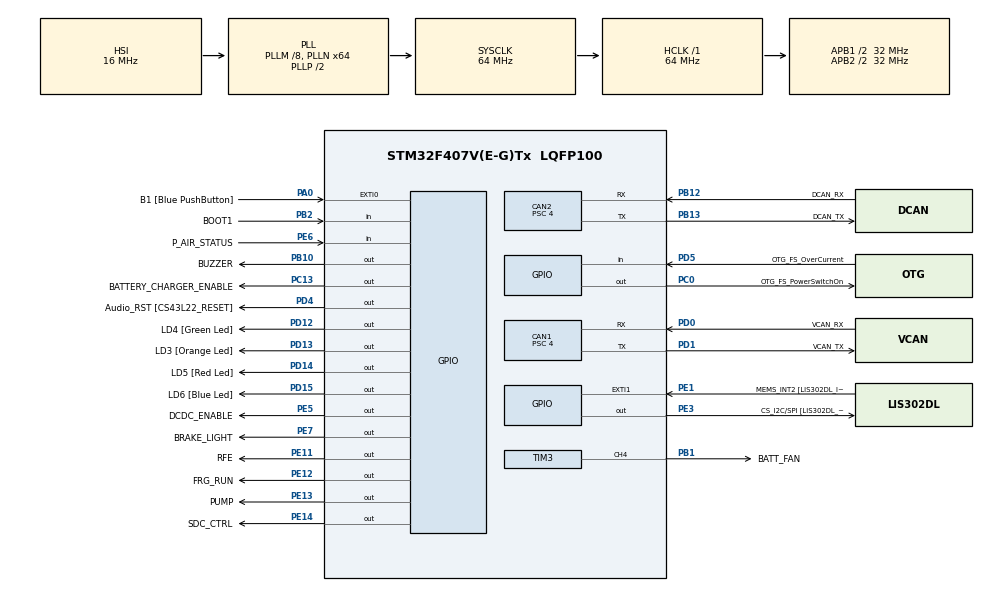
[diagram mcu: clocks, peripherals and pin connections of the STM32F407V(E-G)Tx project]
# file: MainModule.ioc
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CAN1.ABOM=ENABLE
CAN1.BS1=CAN_BS1_9TQ
CAN1.BS2=CAN_BS2_6TQ
CAN1.CalculateTimeBit=2000
CAN1.CalculateTimeQuantum=125.0
CAN1.Prescaler=4
CAN2.ABOM=ENABLE
CAN2.BS1=CAN_BS1_9TQ
CAN2.BS2=CAN_BS2_6TQ
CAN2.CalculateTimeQuantum=125.0
CAN2.Prescaler=4
CAN2.TTCM=DISABLE
FREERTOS.INCLUDE_vTaskDelayUntil=1
FREERTOS.Tasks01=defaultTask,0,128,StartDefaultTask,Default,NULL
FREERTOS.configUSE_TRACE_FACILITY=1
Mcu.Family=STM32F4
Mcu.Name=STM32F407V(E-G)Tx
Mcu.Package=LQFP100
NVIC.CAN1_RX0_IRQn=true\:5\:0\:false\:false\:true\:true\:true
NVIC.CAN1_RX1_IRQn=true\:5\:0\:false\:false\:true\:true\:true
NVIC.CAN2_RX0_IRQn=true\:5\:0\:false\:false\:true\:true\:true
NVIC.CAN2_RX1_IRQn=true\:5\:0\:false\:false\:true\:true\:true
NVIC.PriorityGroup=NVIC_PRIORITYGROUP_4
NVIC.TIM1_UP_TIM10_IRQn=true\:0\:0\:false\:false\:true\:false\:true
NVIC.TimeBase=TIM1_UP_TIM10_IRQn
NVIC.TimeBaseIP=TIM1
PA0-WKUP.GPIO_Label=B1 [Blue PushButton]
PA0-WKUP.Signal=GPXTI0
PA10.GPIO_Label=OTG_FS_ID
PA10.GPIO_Mode=GPIO_MODE_AF_PP
PA10.GPIO_PuPd=GPIO_NOPULL
PA10.GPIO_Speed=GPIO_SPEED_FREQ_LOW
PA10.Signal=USB_OTG_FS_ID
PA11.GPIO_Label=OTG_FS_DM
PA11.GPIO_Mode=GPIO_MODE_AF_PP
PA11.GPIO_PuPd=GPIO_NOPULL
PA11.GPIO_Speed=GPIO_SPEED_FREQ_LOW
PA11.Signal=USB_OTG_FS_DM
PA12.GPIO_Label=OTG_FS_DP
PA12.GPIO_Mode=GPIO_MODE_AF_PP
PA12.GPIO_PuPd=GPIO_NOPULL
PA12.GPIO_Speed=GPIO_SPEED_FREQ_LOW
PA12.Signal=USB_OTG_FS_DP
PA13.GPIO_Label=SWDIO
PA13.Mode=Serial_Wire
PA13.Signal=SYS_JTMS-SWDIO
PA14.GPIO_Label=SWCLK
PA14.Mode=Serial_Wire
PA14.Signal=SYS_JTCK-SWCLK
PA4.GPIO_Label=I2S3_WS [CS43L22_LRCK]
PA4.GPIO_Mode=GPIO_MODE_AF_PP
PA4.GPIO_PuPd=GPIO_NOPULL
PA4.GPIO_Speed=GPIO_SPEED_FREQ_LOW
PA4.Signal=I2S3_WS
PA9.GPIO_Label=VBUS_FS
PA9.GPIO_Mode=GPIO_MODE_INPUT
PA9.GPIO_PuPd=GPIO_NOPULL
PA9.Signal=USB_OTG_FS_VBUS
PB1.GPIO_Label=BATT_FAN
PB1.Signal=S_TIM3_CH4
PB10.GPIO_Label=BUZZER
PB10.Signal=GPIO_Output
PB12.GPIO_Label=DCAN_RX
PB12.Mode=Slave
PB12.Signal=CAN2_RX
PB13.GPIO_Label=DCAN_TX
PB13.Mode=Slave
PB13.Signal=CAN2_TX
PB2.GPIO_Label=BOOT1
PB2.GPIO_Mode=GPIO_MODE_INPUT
PB2.GPIO_PuPd=GPIO_NOPULL
PB2.Signal=GPIO_Input
PB3.GPIO_Label=SWO
PB3.Signal=SYS_JTDO-SWO
PB6.GPIO_Label=Audio_SCL [CS43L22_SCL]
PB6.GPIO_Mode=GPIO_MODE_AF_OD
PB6.GPIO_PuPd=GPIO_NOPULL
PB6.GPIO_Speed=GPIO_SPEED_FREQ_LOW
PB6.Signal=I2C1_SCL
PB9.GPIO_Label=Audio_SDA [CS43L22_SDA]
PB9.GPIO_Mode=GPIO_MODE_AF_OD
PB9.GPIO_PuPd=GPIO_NOPULL
PB9.GPIO_Speed=GPIO_SPEED_FREQ_LOW
PB9.Signal=I2C1_SDA
PC0.GPIO_Label=OTG_FS_PowerSwitchOn
PC0.GPIO_PuPd=GPIO_NOPULL
PC0.GPIO_Speed=GPIO_SPEED_FREQ_LOW
PC0.PinState=GPIO_PIN_SET
PC0.Signal=GPIO_Output
PC10.GPIO_Label=I2S3_SCK [CS43L22_SCLK]
PC10.GPIO_Mode=GPIO_MODE_AF_PP
PC10.GPIO_PuPd=GPIO_NOPULL
PC10.GPIO_Speed=GPIO_SPEED_FREQ_LOW
PC10.Signal=I2S3_CK
PC12.GPIO_Label=I2S3_SD [CS43L22_SDIN]
PC12.GPIO_Mode=GPIO_MODE_AF_PP
PC12.GPIO_PuPd=GPIO_NOPULL
PC12.GPIO_Speed=GPIO_SPEED_FREQ_LOW
PC12.Signal=I2S3_SD
PC13-ANTI_TAMP.GPIO_Label=BATTERY_CHARGER_ENABLE
PC13-ANTI_TAMP.Signal=GPIO_Output
PC14-OSC32_IN.GPIO_Label=PC14-OSC32_IN
PC14-OSC32_IN.Signal=RCC_OSC32_IN
PC15-OSC32_OUT.GPIO_Label=PC15-OSC32_OUT
PC15-OSC32_OUT.Signal=RCC_OSC32_OUT
PC3.GPIO_Label=PDM_OUT [MP45DT02_DOUT]
PC3.GPIO_Mode=GPIO_MODE_AF_PP
PC3.GPIO_PuPd=GPIO_NOPULL
PC3.GPIO_Speed=GPIO_SPEED_FREQ_LOW
PC3.Signal=I2S2_SD
PC7.GPIO_Label=I2S3_MCK [CS43L22_MCLK]
PC7.GPIO_Mode=GPIO_MODE_AF_PP
PC7.GPIO_PuPd=GPIO_NOPULL
PC7.GPIO_Speed=GPIO_SPEED_FREQ_LOW
PC7.Signal=I2S3_MCK
PD0.GPIO_Label=VCAN_RX
PD0.Mode=Master
PD0.Signal=CAN1_RX
PD1.GPIO_Label=VCAN_TX
PD1.Mode=Master
PD1.Signal=CAN1_TX
PD12.GPIO_Label=LD4 [Green Led]
PD12.GPIO_PuPd=GPIO_NOPULL
PD12.GPIO_Speed=GPIO_SPEED_FREQ_LOW
PD12.Signal=GPIO_Output
PD13.GPIO_Label=LD3 [Orange Led]
PD13.GPIO_PuPd=GPIO_NOPULL
PD13.GPIO_Speed=GPIO_SPEED_FREQ_LOW
PD13.Signal=GPIO_Output
PD14.GPIO_Label=LD5 [Red Led]
PD14.GPIO_PuPd=GPIO_NOPULL
PD14.GPIO_Speed=GPIO_SPEED_FREQ_LOW
PD14.Signal=GPIO_Output
PD15.GPIO_Label=LD6 [Blue Led]
PD15.GPIO_PuPd=GPIO_NOPULL
PD15.GPIO_Speed=GPIO_SPEED_FREQ_LOW
PD15.Signal=GPIO_Output
PD4.GPIO_Label=Audio_RST [CS43L22_RESET]
PD4.GPIO_PuPd=GPIO_NOPULL
PD4.GPIO_Speed=GPIO_SPEED_FREQ_LOW
PD4.Signal=GPIO_Output
PD5.GPIO_Label=OTG_FS_OverCurrent
PD5.GPIO_Mode=GPIO_MODE_INPUT
PD5.GPIO_PuPd=GPIO_NOPULL
PD5.Signal=GPIO_Input
PE1.GPIO_Label=MEMS_INT2 [LIS302DL_INT2]
PE1.GPIO_ModeDefaultEXTI=GPIO_MODE_EVT_RISING
PE1.GPIO_PuPd=GPIO_NOPULL
PE1.Signal=GPXTI1
PE11.GPIO_Label=RFE
PE11.Signal=GPIO_Output
PE12.GPIO_Label=FRG_RUN
PE12.Signal=GPIO_Output
PE13.GPIO_Label=PUMP
PE13.Signal=GPIO_Output
PE14.GPIO_Label=SDC_CTRL
PE14.Signal=GPIO_Output
PE3.GPIO_Label=CS_I2C/SPI [LIS302DL_CS_I2C/SPI]
PE3.GPIO_PuPd=GPIO_NOPULL
PE3.GPIO_Speed=GPIO_SPEED_FREQ_LOW
PE3.Signal=GPIO_Output
PE5.GPIO_Label=DCDC_ENABLE
PE5.Signal=GPIO_Output
PE6.GPIO_Label=P_AIR_STATUS
PE6.GPIO_PuPd=GPIO_PULLUP
PE6.Signal=GPIO_Input
PE7.GPIO_Label=BRAKE_LIGHT
PE7.Signal=GPIO_Output
PH0-OSC_IN.GPIO_Label=PH0-OSC_IN
PH0-OSC_IN.Signal=RCC_OSC_IN
PH1-OSC_OUT.GPIO_Label=PH1-OSC_OUT
PH1-OSC_OUT.Signal=RCC_OSC_OUT
ProjectManager.HeapSize=0x2000
ProjectManager.StackSize=0x4000
ProjectManager.TargetToolchain=SW4STM32
RCC.48MHZClocksFreq_Value=18285714.285714287
RCC.AHBFreq_Value=64000000
RCC.APB1CLKDivider=RCC_HCLK_DIV2
RCC.APB1Freq_Value=32000000
RCC.APB1TimFreq_Value=64000000
RCC.APB2CLKDivider=RCC_HCLK_DIV2
RCC.APB2Freq_Value=32000000
RCC.APB2TimFreq_Value=64000000
RCC.CortexFreq_Value=64000000
RCC.HCLKFreq_Value=64000000
RCC.HSE_VALUE=8000000
RCC.HSI_VALUE=16000000
RCC.LSE_VALUE=32768
RCC.PLLM=8
RCC.PLLN=64
RCC.PLLQ=7
RCC.SYSCLKFreq_VALUE=64000000
RCC.SYSCLKSource=RCC_SYSCLKSOURCE_PLLCLK
RCC.VCOOutputFreq_Value=128000000
SH.S_TIM3_CH4.0=TIM3_CH4,PWM Generation4 CH4
TIM3.Channel-PWM\ Generation4\ CH4=TIM_CHANNEL_4
TIM3.Period=100-1
TIM3.Prescaler=16-1
VP_FREERTOS_VS_ENABLE.Mode=Enabled
VP_SYS_VS_tim1.Mode=TIM1
VP_TIM3_VS_ClockSourceINT.Mode=Internal
board=STM32F4DISCOVERY

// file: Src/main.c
/* USER CODE BEGIN Header */
/**
  * @brief  Function implementing the defaultTask thread.
  * @param  argument: Not used
  * @retval None
  */
/* USER CODE END Header */

#include "main.h"
#include "cmsis_os.h"

/* USER CODE BEGIN Includes */
#include "car.h"
#include "CANProcess.h"
#include "CAN_Bus.h"
//#include "trcConfig.h"
/* USER CODE END Includes */

CAN_HandleTypeDef hcan1;
CAN_HandleTypeDef hcan2;

TIM_HandleTypeDef htim3;

osThreadId defaultTaskHandle;
/* USER CODE BEGIN PV */
/* Private variables ---------------------------------------------------------*/
volatile Car_t car;
/* USER CODE END PV */

void SystemClock_Config(void);
static void MX_GPIO_Init(void);
static void MX_CAN1_Init(void);
static void MX_CAN2_Init(void);
static void MX_TIM3_Init(void);
void StartDefaultTask(void const * argument);

/* USER CODE BEGIN PFP */
/* Private function prototypes -----------------------------------------------*/

/* USER CODE END PFP */

int main(void)
{

  /* MCU Configuration--------------------------------------------------------*/

  /* Reset of all peripherals, Initializes the Flash interface and the Systick. */
  HAL_Init();

  /* Configure the system clock */
  SystemClock_Config();

  /* Initialize all configured peripherals */
  MX_GPIO_Init();
  MX_CAN1_Init();
  MX_CAN2_Init();
  MX_TIM3_Init();
  /* USER CODE BEGIN 2 */

  // VCAN = hcan1, DCAN = hcan2
  carInit(&hcan1, &hcan2);
  HAL_TIM_PWM_Start(&htim3, TIM_CHANNEL_4);

  //Call Trace Start here
#ifdef PERCEPIO_TRACE
  vTraceEnable(TRC_START);
#endif

  if (HAL_CAN_Start(&hcan1) != HAL_OK)
  {
  	Error_Handler();
  }

  if (HAL_CAN_Start(&hcan2) != HAL_OK)
	{
  	Error_Handler();
	}

  if (HAL_CAN_ActivateNotification(&hcan1, CAN_IT_RX_FIFO0_MSG_PENDING) != HAL_OK)
	{
  	Error_Handler();
	}
  if (HAL_CAN_ActivateNotification(&hcan2, CAN_IT_RX_FIFO1_MSG_PENDING) != HAL_OK)
  {
  	Error_Handler();
  }

  // totally useless but it signifies that the car has successfully initialized
  for (uint8_t i = 0; i < 3; i++)
  {
    HAL_GPIO_TogglePin(GPIOD, LD6_Pin);
    HAL_Delay(100);
    HAL_GPIO_TogglePin(GPIOD, LD4_Pin);
    HAL_Delay(100);
    HAL_GPIO_TogglePin(GPIOD, LD3_Pin);
    HAL_Delay(100);
    HAL_GPIO_TogglePin(GPIOD, LD5_Pin);
    HAL_Delay(100);
  }

#ifdef tracing
  vTraceEnable(TRC_START);
#endif

  /* USER CODE END 2 */

  /* Create the thread(s) */
  /* definition and creation of defaultTask */
  osThreadDef(defaultTask, StartDefaultTask, osPriorityNormal, 0, 128);
  defaultTaskHandle = osThreadCreate(osThread(defaultTask), NULL);

  /* Start scheduler */
  osKernelStart();

  /* We should never get here as control is now taken by the scheduler */

  /* Infinite loop */
  while (1) {

  }
}

void SystemClock_Config(void)
{
  RCC_OscInitTypeDef RCC_OscInitStruct = {0};
  RCC_ClkInitTypeDef RCC_ClkInitStruct = {0};

  /**Configure the main internal regulator output voltage
  */
  __HAL_RCC_PWR_CLK_ENABLE();
  __HAL_PWR_VOLTAGESCALING_CONFIG(PWR_REGULATOR_VOLTAGE_SCALE1);
  /**Initializes the CPU, AHB and APB busses clocks
  */
  RCC_OscInitStruct.OscillatorType = RCC_OSCILLATORTYPE_HSI;
  RCC_OscInitStruct.HSIState = RCC_HSI_ON;
  RCC_OscInitStruct.HSICalibrationValue = RCC_HSICALIBRATION_DEFAULT;
  RCC_OscInitStruct.PLL.PLLState = RCC_PLL_ON;
  RCC_OscInitStruct.PLL.PLLSource = RCC_PLLSOURCE_HSI;
  RCC_OscInitStruct.PLL.PLLM = 8;
  RCC_OscInitStruct.PLL.PLLN = 64;
  RCC_OscInitStruct.PLL.PLLP = RCC_PLLP_DIV2;
  RCC_OscInitStruct.PLL.PLLQ = 7;
  if (HAL_RCC_OscConfig(&RCC_OscInitStruct) != HAL_OK)
  {
    Error_Handler();
  }
  /**Initializes the CPU, AHB and APB busses clocks
  */
  RCC_ClkInitStruct.ClockType = RCC_CLOCKTYPE_HCLK|RCC_CLOCKTYPE_SYSCLK
                              |RCC_CLOCKTYPE_PCLK1|RCC_CLOCKTYPE_PCLK2;
  RCC_ClkInitStruct.SYSCLKSource = RCC_SYSCLKSOURCE_PLLCLK;
  RCC_ClkInitStruct.AHBCLKDivider = RCC_SYSCLK_DIV1;
  RCC_ClkInitStruct.APB1CLKDivider = RCC_HCLK_DIV2;
  RCC_ClkInitStruct.APB2CLKDivider = RCC_HCLK_DIV2;

  if (HAL_RCC_ClockConfig(&RCC_ClkInitStruct, FLASH_LATENCY_2) != HAL_OK)
  {
    Error_Handler();
  }
}

static void MX_CAN1_Init(void)
{

  hcan1.Instance = CAN1;
  hcan1.Init.Prescaler = 4;
  hcan1.Init.Mode = CAN_MODE_NORMAL;
  hcan1.Init.SyncJumpWidth = CAN_SJW_1TQ;
  hcan1.Init.TimeSeg1 = CAN_BS1_9TQ;
  hcan1.Init.TimeSeg2 = CAN_BS2_6TQ;
  hcan1.Init.TimeTriggeredMode = DISABLE;
  hcan1.Init.AutoBusOff = ENABLE;
  hcan1.Init.AutoWakeUp = DISABLE;
  hcan1.Init.AutoRetransmission = DISABLE;
  hcan1.Init.ReceiveFifoLocked = DISABLE;
  hcan1.Init.TransmitFifoPriority = DISABLE;
  if (HAL_CAN_Init(&hcan1) != HAL_OK)
  {
    Error_Handler();
  }

}

static void MX_CAN2_Init(void)
{

  hcan2.Instance = CAN2;
  hcan2.Init.Prescaler = 4;
  hcan2.Init.Mode = CAN_MODE_NORMAL;
  hcan2.Init.SyncJumpWidth = CAN_SJW_1TQ;
  hcan2.Init.TimeSeg1 = CAN_BS1_9TQ;
  hcan2.Init.TimeSeg2 = CAN_BS2_6TQ;
  hcan2.Init.TimeTriggeredMode = DISABLE;
  hcan2.Init.AutoBusOff = ENABLE;
  hcan2.Init.AutoWakeUp = DISABLE;
  hcan2.Init.AutoRetransmission = DISABLE;
  hcan2.Init.ReceiveFifoLocked = DISABLE;
  hcan2.Init.TransmitFifoPriority = DISABLE;
  if (HAL_CAN_Init(&hcan2) != HAL_OK)
  {
    Error_Handler();
  }

}

static void MX_TIM3_Init(void)
{

  TIM_ClockConfigTypeDef sClockSourceConfig = {0};
  TIM_MasterConfigTypeDef sMasterConfig = {0};
  TIM_OC_InitTypeDef sConfigOC = {0};

  htim3.Instance = TIM3;
  htim3.Init.Prescaler = 16-1;
  htim3.Init.CounterMode = TIM_COUNTERMODE_UP;
  htim3.Init.Period = 100-1;
  htim3.Init.ClockDivision = TIM_CLOCKDIVISION_DIV1;
  if (HAL_TIM_Base_Init(&htim3) != HAL_OK)
  {
    Error_Handler();
  }
  sClockSourceConfig.ClockSource = TIM_CLOCKSOURCE_INTERNAL;
  if (HAL_TIM_ConfigClockSource(&htim3, &sClockSourceConfig) != HAL_OK)
  {
    Error_Handler();
  }
  if (HAL_TIM_PWM_Init(&htim3) != HAL_OK)
  {
    Error_Handler();
  }
  sMasterConfig.MasterOutputTrigger = TIM_TRGO_RESET;
  sMasterConfig.MasterSlaveMode = TIM_MASTERSLAVEMODE_DISABLE;
  if (HAL_TIMEx_MasterConfigSynchronization(&htim3, &sMasterConfig) != HAL_OK)
  {
    Error_Handler();
  }
  sConfigOC.OCMode = TIM_OCMODE_PWM1;
  sConfigOC.Pulse = 0;
  sConfigOC.OCPolarity = TIM_OCPOLARITY_HIGH;
  sConfigOC.OCFastMode = TIM_OCFAST_DISABLE;
  if (HAL_TIM_PWM_ConfigChannel(&htim3, &sConfigOC, TIM_CHANNEL_4) != HAL_OK)
  {
    Error_Handler();
  }
  HAL_TIM_MspPostInit(&htim3);

}

static void MX_GPIO_Init(void)
{
  GPIO_InitTypeDef GPIO_InitStruct = {0};

  /* GPIO Ports Clock Enable */
  __HAL_RCC_GPIOE_CLK_ENABLE();
  __HAL_RCC_GPIOC_CLK_ENABLE();
  __HAL_RCC_GPIOH_CLK_ENABLE();
  __HAL_RCC_GPIOA_CLK_ENABLE();
  __HAL_RCC_GPIOB_CLK_ENABLE();
  __HAL_RCC_GPIOD_CLK_ENABLE();

  /*Configure GPIO pin Output Level */
  HAL_GPIO_WritePin(GPIOE, CS_I2C_SPI_Pin|DCDC_ENABLE_Pin|BRAKE_LIGHT_Pin|RFE_Pin
                          |FRG_RUN_Pin|PUMP_Pin|SDC_CTRL_Pin, GPIO_PIN_RESET);

  /*Configure GPIO pin Output Level */
  HAL_GPIO_WritePin(BATTERY_CHARGER_ENABLE_GPIO_Port, BATTERY_CHARGER_ENABLE_Pin, GPIO_PIN_RESET);

  /*Configure GPIO pin Output Level */
  HAL_GPIO_WritePin(OTG_FS_PowerSwitchOn_GPIO_Port, OTG_FS_PowerSwitchOn_Pin, GPIO_PIN_SET);

  /*Configure GPIO pin Output Level */
  HAL_GPIO_WritePin(BUZZER_GPIO_Port, BUZZER_Pin, GPIO_PIN_RESET);

  /*Configure GPIO pin Output Level */
  HAL_GPIO_WritePin(GPIOD, LD4_Pin|LD3_Pin|LD5_Pin|LD6_Pin
                          |Audio_RST_Pin, GPIO_PIN_RESET);

  /*Configure GPIO pins : CS_I2C_SPI_Pin DCDC_ENABLE_Pin BRAKE_LIGHT_Pin RFE_Pin
                           FRG_RUN_Pin PUMP_Pin SDC_CTRL_Pin */
  GPIO_InitStruct.Pin = CS_I2C_SPI_Pin|DCDC_ENABLE_Pin|BRAKE_LIGHT_Pin|RFE_Pin
                          |FRG_RUN_Pin|PUMP_Pin|SDC_CTRL_Pin;
  GPIO_InitStruct.Mode = GPIO_MODE_OUTPUT_PP;
  GPIO_InitStruct.Pull = GPIO_NOPULL;
  GPIO_InitStruct.Speed = GPIO_SPEED_FREQ_LOW;
  HAL_GPIO_Init(GPIOE, &GPIO_InitStruct);

  /*Configure GPIO pin : P_AIR_STATUS_Pin */
  GPIO_InitStruct.Pin = P_AIR_STATUS_Pin;
  GPIO_InitStruct.Mode = GPIO_MODE_INPUT;
  GPIO_InitStruct.Pull = GPIO_PULLUP;
  HAL_GPIO_Init(P_AIR_STATUS_GPIO_Port, &GPIO_InitStruct);

  /*Configure GPIO pins : BATTERY_CHARGER_ENABLE_Pin OTG_FS_PowerSwitchOn_Pin */
  GPIO_InitStruct.Pin = BATTERY_CHARGER_ENABLE_Pin|OTG_FS_PowerSwitchOn_Pin;
  GPIO_InitStruct.Mode = GPIO_MODE_OUTPUT_PP;
  GPIO_InitStruct.Pull = GPIO_NOPULL;
  GPIO_InitStruct.Speed = GPIO_SPEED_FREQ_LOW;
  HAL_GPIO_Init(GPIOC, &GPIO_InitStruct);

  /*Configure GPIO pin : PDM_OUT_Pin */
  GPIO_InitStruct.Pin = PDM_OUT_Pin;
  GPIO_InitStruct.Mode = GPIO_MODE_AF_PP;
  GPIO_InitStruct.Pull = GPIO_NOPULL;
  GPIO_InitStruct.Speed = GPIO_SPEED_FREQ_LOW;
  GPIO_InitStruct.Alternate = GPIO_AF5_SPI2;
  HAL_GPIO_Init(PDM_OUT_GPIO_Port, &GPIO_InitStruct);

  /*Configure GPIO pin : B1_Pin */
  GPIO_InitStruct.Pin = B1_Pin;
  GPIO_InitStruct.Mode = GPIO_MODE_IT_RISING;
  GPIO_InitStruct.Pull = GPIO_NOPULL;
  HAL_GPIO_Init(B1_GPIO_Port, &GPIO_InitStruct);

  /*Configure GPIO pin : I2S3_WS_Pin */
  GPIO_InitStruct.Pin = I2S3_WS_Pin;
  GPIO_InitStruct.Mode = GPIO_MODE_AF_PP;
  GPIO_InitStruct.Pull = GPIO_NOPULL;
  GPIO_InitStruct.Speed = GPIO_SPEED_FREQ_LOW;
  GPIO_InitStruct.Alternate = GPIO_AF6_SPI3;
  HAL_GPIO_Init(I2S3_WS_GPIO_Port, &GPIO_InitStruct);

  /*Configure GPIO pin : BOOT1_Pin */
  GPIO_InitStruct.Pin = BOOT1_Pin;
  GPIO_InitStruct.Mode = GPIO_MODE_INPUT;
  GPIO_InitStruct.Pull = GPIO_NOPULL;
  HAL_GPIO_Init(BOOT1_GPIO_Port, &GPIO_InitStruct);

  /*Configure GPIO pin : BUZZER_Pin */
  GPIO_InitStruct.Pin = BUZZER_Pin;
  GPIO_InitStruct.Mode = GPIO_MODE_OUTPUT_PP;
  GPIO_InitStruct.Pull = GPIO_NOPULL;
  GPIO_InitStruct.Speed = GPIO_SPEED_FREQ_LOW;
  HAL_GPIO_Init(BUZZER_GPIO_Port, &GPIO_InitStruct);

  /*Configure GPIO pins : LD4_Pin LD3_Pin LD5_Pin LD6_Pin
                           Audio_RST_Pin */
  GPIO_InitStruct.Pin = LD4_Pin|LD3_Pin|LD5_Pin|LD6_Pin
                          |Audio_RST_Pin;
  GPIO_InitStruct.Mode = GPIO_MODE_OUTPUT_PP;
  GPIO_InitStruct.Pull = GPIO_NOPULL;
  GPIO_InitStruct.Speed = GPIO_SPEED_FREQ_LOW;
  HAL_GPIO_Init(GPIOD, &GPIO_InitStruct);

  /*Configure GPIO pins : I2S3_MCK_Pin I2S3_SCK_Pin I2S3_SD_Pin */
  GPIO_InitStruct.Pin = I2S3_MCK_Pin|I2S3_SCK_Pin|I2S3_SD_Pin;
  GPIO_InitStruct.Mode = GPIO_MODE_AF_PP;
  GPIO_InitStruct.Pull = GPIO_NOPULL;
  GPIO_InitStruct.Speed = GPIO_SPEED_FREQ_LOW;
  GPIO_InitStruct.Alternate = GPIO_AF6_SPI3;
  HAL_GPIO_Init(GPIOC, &GPIO_InitStruct);

  /*Configure GPIO pin : VBUS_FS_Pin */
  GPIO_InitStruct.Pin = VBUS_FS_Pin;
  GPIO_InitStruct.Mode = GPIO_MODE_INPUT;
  GPIO_InitStruct.Pull = GPIO_NOPULL;
  HAL_GPIO_Init(VBUS_FS_GPIO_Port, &GPIO_InitStruct);

  /*Configure GPIO pins : OTG_FS_ID_Pin OTG_FS_DM_Pin OTG_FS_DP_Pin */
  GPIO_InitStruct.Pin = OTG_FS_ID_Pin|OTG_FS_DM_Pin|OTG_FS_DP_Pin;
  GPIO_InitStruct.Mode = GPIO_MODE_AF_PP;
  GPIO_InitStruct.Pull = GPIO_NOPULL;
  GPIO_InitStruct.Speed = GPIO_SPEED_FREQ_LOW;
  GPIO_InitStruct.Alternate = GPIO_AF10_OTG_FS;
  HAL_GPIO_Init(GPIOA, &GPIO_InitStruct);

  /*Configure GPIO pin : OTG_FS_OverCurrent_Pin */
  GPIO_InitStruct.Pin = OTG_FS_OverCurrent_Pin;
  GPIO_InitStruct.Mode = GPIO_MODE_INPUT;
  GPIO_InitStruct.Pull = GPIO_NOPULL;
  HAL_GPIO_Init(OTG_FS_OverCurrent_GPIO_Port, &GPIO_InitStruct);

  /*Configure GPIO pins : Audio_SCL_Pin Audio_SDA_Pin */
  GPIO_InitStruct.Pin = Audio_SCL_Pin|Audio_SDA_Pin;
  GPIO_InitStruct.Mode = GPIO_MODE_AF_OD;
  GPIO_InitStruct.Pull = GPIO_PULLUP;
  GPIO_InitStruct.Speed = GPIO_SPEED_FREQ_LOW;
  GPIO_InitStruct.Alternate = GPIO_AF4_I2C1;
  HAL_GPIO_Init(GPIOB, &GPIO_InitStruct);

  /*Configure GPIO pin : MEMS_INT2_Pin */
  GPIO_InitStruct.Pin = MEMS_INT2_Pin;
  GPIO_InitStruct.Mode = GPIO_MODE_EVT_RISING;
  GPIO_InitStruct.Pull = GPIO_NOPULL;
  HAL_GPIO_Init(MEMS_INT2_GPIO_Port, &GPIO_InitStruct);

}

void StartDefaultTask(void const * argument)
{

  for (;;) {
    osDelay(1);
  }
}

void HAL_TIM_PeriodElapsedCallback(TIM_HandleTypeDef *htim)
{
  if (htim->Instance == TIM1) {
    HAL_IncTick();
  }
}

void Error_Handler(void)
{
  /* USER CODE BEGIN Error_Handler_Debug */
  /* User can add his own implementation to report the HAL error return state */
  while (1) {
  	HAL_GPIO_TogglePin(GPIOD, LD3_Pin);
  	HAL_GPIO_TogglePin(GPIOD, LD4_Pin);
  	HAL_GPIO_TogglePin(GPIOD, LD5_Pin);
  	HAL_GPIO_TogglePin(GPIOD, LD6_Pin);
  	HAL_Delay(1000);
  }
  /* USER CODE END Error_Handler_Debug */
}

/************************ (C) COPYRIGHT STMicroelectronics *****END OF FILE****/
